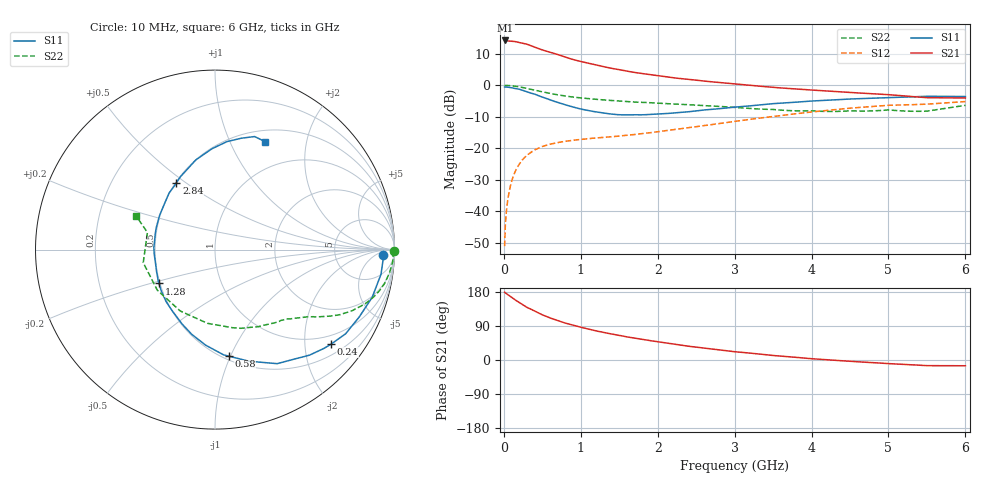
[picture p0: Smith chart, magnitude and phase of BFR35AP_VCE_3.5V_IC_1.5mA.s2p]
! Infineon Technologies  Discrete & RF Semiconductors
! BFR35AP
! VCE =  3.5 V,  IC =  1.5 mA
! Common Emitter S-Parameters:  Nov 2015
# GHz  S  MA  R  50
!  f  S11  S21  S12  S22
! GHz  MAG  ANG  MAG  ANG  MAG  ANG  MAG  ANG
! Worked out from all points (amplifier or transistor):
!   210 points, 10 MHz to 6 GHz, reference 50 ohm
!   highest |S21| = 14.2 dB at 20 MHz (marker M1)
!   |S21| within 3 dB of that: start of sweep to 498.4 MHz
!   unconditionally stable (mu >= 1): 1.298 GHz to 3.916 GHz; 5.211 GHz to end of sweep
!   at 185 MHz: K = 0.19, MSG = 19.7 dB, |S12| = -25.7 dB
!   at 1.52 GHz: K = 1.11, MAG = 8.5 dB, |S12| = -16.1 dB
!   at 6 GHz: K = 1.00, MAG = 0.2 dB, |S12| = -5.2 dB
!   S11 on the Smith chart (normalised r, x): 10 MHz: 25, -12; 240 MHz: 0.76, -2.62; 580 MHz: 0.53, -0.98; 1.28 GHz: 0.49, -0.21; 2.84 GHz: 0.51, +0.46; 6 GHz: 0.63, +1.36
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0.01  0.9368 -1.7  5.069 178.9  0.0028 87.9  0.9985 -0.6
0.02  0.9382 -3.5  5.137 177.0  0.0061 90.3  0.992 -1.5
0.05  0.935 -8.5  5.053 172.9  0.0149 85.5  0.9927 -3.8
0.09  0.9176 -15.2  5.008 167.4  0.0266 80.4  0.9832 -6.7
0.15  0.8867 -25.1  4.93 158.1  0.0435 75.1  0.9651 -11.1
0.24  0.8344 -39.1  4.669 146.5  0.0651 66.9  0.9232 -16.5
0.3  0.7896 -48.1  4.484 138.9  0.0776 62.8  0.8901 -19.8
0.4  0.7238 -61.4  4.039 129.2  0.0941 56.3  0.8356 -24.1
0.5  0.6501 -73.1  3.631 119.2  0.1068 51.1  0.7867 -27.4
0.58  0.5981 -82.7  3.407 112.7  0.1142 48.0  0.7515 -29.4
0.7  0.5349 -95.6  3.073 103.7  0.1234 44.6  0.7048 -32.0
0.8  0.4893 -105.4  2.796 97.3  0.1291 42.6  0.6735 -33.8
1.02  0.4146 -125.5  2.352 85.5  0.1391 40.1  0.6266 -36.9
1.28  0.3645 -148.9  1.994 73.5  0.1489 39.4  0.5872 -40.5
1.6  0.3397 -174.2  1.674 61.0  0.1611 40.9  0.5502 -45.1
2.02  0.3505 158.0  1.408 47.5  0.1844 43.2  0.5193 -52.4
2.84  0.4291 120.1  1.098 25.8  0.2504 44.6  0.4596 -72.4
3.1  0.4597 112.4  1.024 20.1  0.2774 43.3  0.4358 -80.8
4.1  0.5695 90.1  0.825 2.1  0.3876 34.3  0.387 -124.5
5.1  0.6422 75.6  0.694 -10.5  0.4843 19.5  0.3971 -174.4
5.5  0.6674 70.7  0.635 -14.9  0.5012 12.6  0.3883 165.8
6  0.6634 65.2  0.628 -15.2  0.5511 8.0  0.4795 156.7
